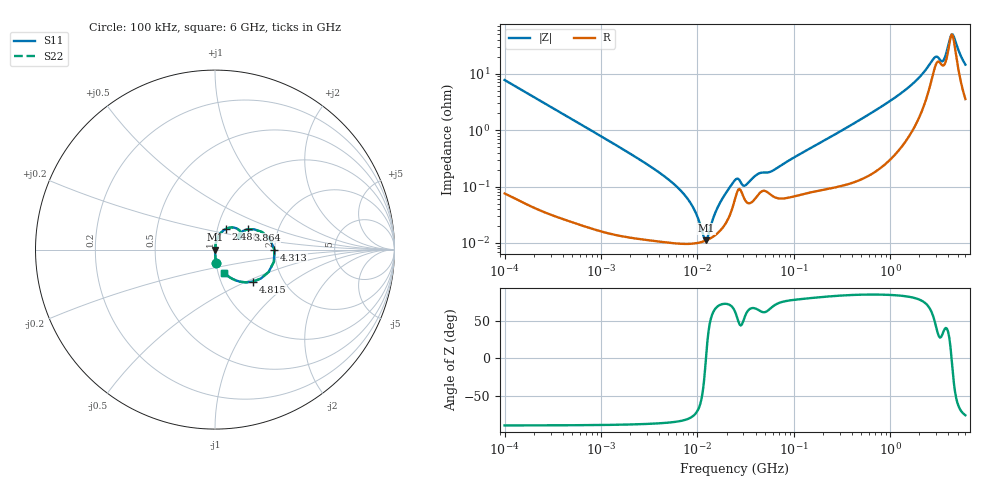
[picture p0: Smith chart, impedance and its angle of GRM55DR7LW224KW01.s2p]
!Murata Part Number: GRM55DR7LW224KW01
!These Parameters are Measured in Series Mode Connection
!Data Generated on Mar 30, 2021
!  o--ll--o
!Port1  Port2
!  o------o
!Operation Temp=25[degC], DC Bias Voltage=0[V]
!Freq. Start=100[kHz] Stop=6[GHz] 401[Steps]
# Hz S RI R 50
!Freq.(Hz) S11(Real) S11(Imag) S21(Real) S21(Imag) S12(Real) S12(Imag) S22(Real) S22(Imag)
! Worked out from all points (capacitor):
!   401 points, 100 kHz to 6 GHz, reference 50 ohm
!   read as one part in series: C = 205 nF near 105.7 kHz
!   lowest |Z| = 11.2 mohm at 12.32 MHz (marker M1)
!   series resonance near 12.24 MHz, so ESL is about 820 pH
!   S11 on the Smith chart (normalised r, x): 100 kHz: 1.00, -0.15; 2.488 GHz: 1.10, +0.26; 3.864 GHz: 1.40, +0.33; 4.313 GHz: 1.99, +0.00; 4.815 GHz: 1.41, -0.55; 6 GHz: 1.07, -0.28
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100000  0.0067 -0.0768  0.9933 0.0768  0.9933 0.0768  0.0067 -0.0768
631452  0.000357 -0.0124  0.9996 0.0124  0.9996 0.0124  0.000357 -0.0124
3987316  0.000109 -0.00179  0.9999 0.00179  0.9999 0.00179  0.000109 -0.00179
7930766  9.68e-05 -0.000596  0.9999 0.000596  0.9999 0.000596  9.68e-05 -0.000596
9353785  9.86e-05 -0.000365  0.9999 0.000365  0.9999 0.000365  9.86e-05 -0.000365
1.165602e7  0.000108 -6.62e-05  0.9999 6.62e-05  0.9999 6.62e-05  0.000108 -6.62e-05
1.231519e7  0.000111 8.8e-06  0.9999 -8.8e-06  0.9999 -8.8e-06  0.000111 8.8e-06
1.666634e7  0.000157 0.000447  0.9998 -0.000447  0.9998 -0.000447  0.000157 0.000447
2.517799e7  0.000709 0.00116  0.9993 -0.00116  0.9993 -0.00116  0.000709 0.00116
3.137502e7  0.000565 0.000886  0.9994 -0.000886  0.9994 -0.000886  0.000565 0.000886
4.246031e7  0.000711 0.00152  0.9993 -0.00152  0.9993 -0.00152  0.000711 0.00152
5.906466e7  0.000695 0.00175  0.9993 -0.00175  0.9993 -0.00175  0.000695 0.00175
1.546735e8  0.000823 0.00491  0.9992 -0.00491  0.9992 -0.00491  0.000823 0.00491
9.76689e8  0.00393 0.032  0.9961 -0.032  0.9961 -0.032  0.00393 0.032
1.693027e9  0.0138 0.0634  0.9862 -0.0634  0.9862 -0.0634  0.0138 0.0634
2.488279e9  0.0607 0.1151  0.9393 -0.1151  0.9393 -0.1151  0.0607 0.1151
2.934752e9  0.1354 0.1081  0.8646 -0.1081  0.8646 -0.1081  0.1354 0.1081
3.461335e9  0.1283 0.0671  0.8717 -0.0671  0.8717 -0.0671  0.1283 0.0671
3.863894e9  0.1813 0.1126  0.8187 -0.1126  0.8187 -0.1126  0.1813 0.1126
4.313271e9  0.3311 4.97e-05  0.6689 -4.97e-05  0.6689 -4.97e-05  0.3311 4.97e-05
4.814911e9  0.2117 -0.1783  0.7883 0.1783  0.7883 0.1783  0.2117 -0.1783
6e9  0.0518 -0.1288  0.9482 0.1288  0.9482 0.1288  0.0518 -0.1288
